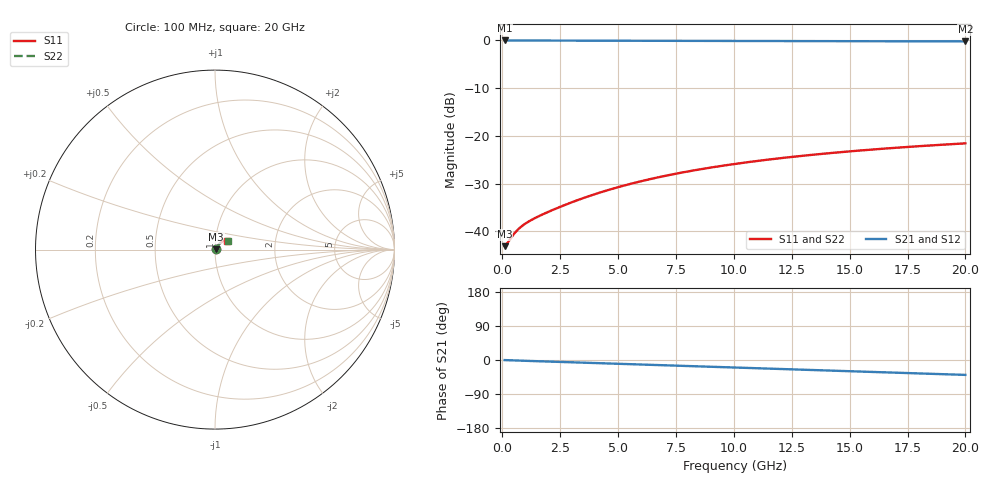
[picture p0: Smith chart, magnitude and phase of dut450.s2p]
! Touchstone file exported from HFSS 2026.1.0
!  File:  C:/ffzhzh/LocalFiles/Ansys_Project_Files/temp_train_TMRDL_450_1783005808_55676.aedt
!  Generated:  11:24:37 PM Jul  2, 2026
!  Design:  TMRDL
!  Project:  temp_train_TMRDL_450_1783005808_55676
! Variables:
!  h_bsmrdl = 2um
!  h_ox = 20um
!  h_rdl = 5um
!  h_sub = 80um
!  h_tmrdl = 2.7um
!  h_tsv = 80um
!  h_via = 3um
!  l_bsmrdl = 300um
!  l_sub = 1105.41um
!  l_tmrdl = 705.41um
!  m_sub = 200um
!  pitch = 17.49um
!  r_tsv = 6um
!  s_tmrdl = 10um
!  w_bsmrdl = 18um
!  w_sub = 500um
!  w_tmrdl = 13.55um
!  x_tsv_center1 = 712.185um
!  x_tsv_center2 = 1030.185um
!  x_tsv_center3 = 1749.145um
!  x_tsv_center4 = 2067.145um
!  x_tsv_center5 = 2786.105um
!  x_tsv_center6 = 3104.105um
# GHz S MA R 50.000000
! Terminal data exported
! Port[1] = TM_RDL1_1_T1
! Port[2] = TM_RDL1_1_T2
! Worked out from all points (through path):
!   200 points, 100 MHz to 20 GHz, reference 50 ohm
!   highest |S21| = -0.06 dB at 100 MHz (marker M1); lowest = -0.3 dB at 20 GHz (marker M2)
!   group delay of S21, straight-line fit = 5.44 ps
!   lowest |S11| = -43.1 dB at 100 MHz (marker M3), VSWR 1.01, Z = 50.7 + j0.107 ohm
!   |S11| at or under -10 dB: start of sweep to end of sweep
!   |S22| runs from -43.1 to -21.5 dB; largest |S21 - S12| = 3.3e-15
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0.1  0.006996 8.7  0.9931 -0.2  0.9931 -0.2  0.006996 8.7
! Gamma 0 0 0 0
! Port Impedance 50 0 50 0
0.2  0.007429 16.1  0.9929 -0.5  0.9929 -0.5  0.007429 16.1
0.4  0.0087 25.5  0.9922 -0.9  0.9922 -0.9  0.0087 25.5
0.6  0.009998 30.2  0.9915 -1.3  0.9915 -1.3  0.01 30.2
0.8  0.01112 32.9  0.9908 -1.7  0.9908 -1.7  0.01112 32.9
1.1  0.01251 35.8  0.9901 -2.3  0.9901 -2.3  0.01252 35.8
1.5  0.01411 39.3  0.9895 -3.1  0.9895 -3.1  0.01412 39.3
2.1  0.01644 43.9  0.989 -4.3  0.989 -4.3  0.01646 43.9
2.8  0.01929 48.0  0.9884 -5.7  0.9884 -5.7  0.01931 47.9
3.5  0.02229 50.8  0.9879 -7.1  0.9879 -7.1  0.02231 50.7
4.3  0.02583 52.7  0.9873 -8.7  0.9873 -8.7  0.02587 52.6
5.1  0.02943 53.6  0.9866 -10.3  0.9866 -10.3  0.02947 53.5
5.9  0.03303 53.9  0.9859 -11.9  0.9859 -11.9  0.03308 53.7
6.8  0.03703 53.7  0.985 -13.7  0.985 -13.7  0.0371 53.4
7.6  0.04053 53.1  0.9841 -15.3  0.9841 -15.3  0.04061 52.8
8.4  0.04395 52.3  0.9832 -16.8  0.9832 -16.8  0.04405 52.0
10.1  0.05093 50.2  0.9812 -20.2  0.9812 -20.2  0.05106 49.8
11.7  0.0571 47.8  0.9794 -23.3  0.9794 -23.3  0.05728 47.3
13.4  0.06325 45.1  0.9774 -26.6  0.9774 -26.6  0.06347 44.5
15  0.06865 42.4  0.9755 -29.7  0.9755 -29.7  0.06892 41.8
16.7  0.07399 39.5  0.9737 -33.0  0.9737 -33.0  0.07431 38.8
20  0.08325 34.0  0.9704 -39.3  0.9704 -39.3  0.0837 33.0
